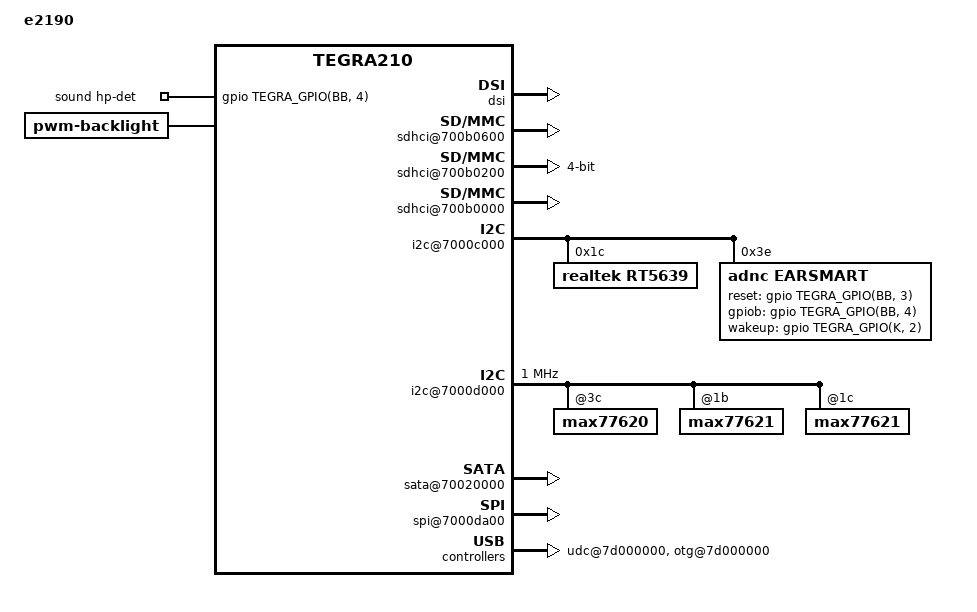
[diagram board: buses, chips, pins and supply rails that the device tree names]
/*
 * T210 POP
 *
 * arch/arm64/boot/dts/tegra210-ers-e2190-1100-a00-00.dts
 *
 * Copyright (c) 2014, NVIDIA CORPORATION.  All rights reserved.
 *
 * This program is free software; you can redistribute it and/or modify
 * it under the terms of the GNU General Public License as published by
 * the Free Software Foundation; version 2 of the License.
 *
 * This program is distributed in the hope that it will be useful, but WITHOUT
 * ANY WARRANTY; without even the implied warranty of MERCHANTABILITY or
 * FITNESS FOR A PARTICULAR PURPOSE.  See the GNU General Public License for
 * more details.
 *
 * You should have received a copy of the GNU General Public License along
 * with this program; if not, write to the Free Software Foundation, Inc.,
 * 51 Franklin Street, Fifth Floor, Boston, MA  02110-1301, USA.
 *
 */

/dts-v1/;

/memreserve/ 0x80000000 0x00020000;

#include "tegra210-ers-common.dtsi"
#include "tegra210-platforms/tegra210-ers-extgpio-e2141-1100-a00.dtsi"
#include "tegra210-platforms/tegra210-ers-power-tree-e2174-1101-a00.dtsi"
#include "tegra210-platforms/tegra210-ers-sensor-e2160-1000-a00.dtsi"
#include "tegra210-platforms/tegra210-ers-gpio-e2190-1100-a00.dtsi"
#include "tegra210-platforms/tegra210-ers-pinmux-e2190-1100-a00.dtsi"
#include "tegra210-platforms/tegra210-comms.dtsi"
#include "tegra210-platforms/tegra210-sdhci.dtsi"
#include "panel-a-wuxga-8-0.dtsi"
#include "tegra210-platforms/tegra210-ers-hdmi-e2190-1100-a00.dtsi"
#include "tegra210-platforms/tegra210-ers-keys-e2141-1100-a00.dtsi"

/ {
	model = "e2190";
	compatible = "nvidia,e2190", "nvidia,tegra210";
	nvidia,boardids = "2190:1100:00;2174:1101:00";
	nvidia,dtsfilename = __FILE__;
	nvidia,proc-boardid = "2190:1100:00";
	nvidia,pmu-boardid = "2174:1102:00";
	#address-cells = <2>;
	#size-cells = <2>;

	chosen {
		bootargs ="mem=1024M@2048M console=ttyS0,115200 earlyprintk=uart8250-32bit,0x70006000";
        };

	host1x {
		/* tegradc.0 */
		dc@54200000 {
			status = "okay";
			nvidia,dc-flags = <TEGRA_DC_FLAG_ENABLED>;
			nvidia,emc-clk-rate = <204000000>;
			nvidia,cmu-enable = <1>;
			nvidia,low-v-win = <0x2>;
			nvidia,fb-bpp = <32>; /* bits per pixel */
			nvidia,fb-flags = <TEGRA_FB_FLIP_ON_PROBE>;
		};
		/* tegradc.1 */
		dc@54240000 {
			status = "okay";
			nvidia,dc-flags = <TEGRA_DC_FLAG_ENABLED>;
			nvidia,emc-clk-rate = <300000000>;
			nvidia,fb-bpp = <32>; /* bits per pixel */
			nvidia,fb-flags = <TEGRA_FB_FLIP_ON_PROBE>;
		};
		dsi {
			nvidia,dsi-controller-vs = <DSI_VS_1>;
			status = "okay";
			panel-a-wuxga-8-0 {
				nvidia,panel-rst-gpio = <&gpio TEGRA_GPIO(H, 3) 0>; /* PH3 */
				nvidia,panel-bl-pwm-gpio = <&gpio TEGRA_GPIO(H, 1) 0>; /* PH1 */
			};
		};
	};

	sdhci@700b0600 {
		uhs-mask = <0x60>;
		built-in;
		status = "okay";
	};

	sdhci@700b0400 {
		uhs-mask = <0x1c>;
		status = "disabled";
	};

	sdhci@700b0200 {
		uhs-mask = <0x1C>;
		bus-width = <4>;
		status = "okay";
	};

	sdhci@700b0000 {
		uhs-mask = <0x1c>;
		status = "okay";
	};

	i2c@7000c000 {
		rt5639: rt5639.0-001c@1c {
			compatible = "realtek,rt5639";
			reg = <0x1c>;
		};
		earSmart: earSmart-codec.0-003e@3e {
			compatible = "adnc,earSmart";
			reg = <0x3e>;

			adnc,reset-gpio = <&gpio TEGRA_GPIO(BB, 3) GPIO_ACTIVE_HIGH>;
			adnc,gpiob-gpio = <&gpio TEGRA_GPIO(BB, 4) GPIO_ACTIVE_HIGH>;
			adnc,wakeup-gpio = <&gpio TEGRA_GPIO(K, 2) GPIO_ACTIVE_HIGH>;
			adnc,int-gpio = <(-1)>;
			adnc,gpioa-gpio = <(-1)>;
			adnc,enable_hs_uart_intf = <0>;
			adnc,ext_clk_rate = <0>;
			adnc,debounce_timer = <3>;
			adnc,plug_det_enabled = <1>;
			adnc,mic_det_enabled = <1>;

			adnc,gpio_b_irq_type = <4>;
			adnc,cmd_comp_mode = <0>;

			/* Button Control 1 */
			adnc,btn_press_settling_time = <4>;
			adnc,btn_press_polling_rate = <1>;
			adnc,btn_press_det_act = <1>;

			/* Button Control 2 */
			adnc,double_btn_timer = <(-1)>;
			adnc,mic_det_settling_timer = <(-1)>;

			/* Button Control 3 */
			adnc,long_btn_timer = <(-1)>;
			adnc,adc_btn_mute = <(-1)>;

			/* Button Control 4 */
			adnc,valid_levels = <31>;
			adnc,impd_det_timer = <0>;
		};
	};

	i2c@7000d000 {
		max77620@3c {
			watchdog {
				status = "okay";
			};
		};
	};

	adma@702e2000  {
		interrupts = <0 24 0x04
			      0 25 0x04
			      0 26 0x04
			      0 27 0x04
			      0 28 0x04
			      0 29 0x04
			      0 30 0x04
			      0 31 0x04
			      0 32 0x04
			      0 33 0x04>;
		dma-channels = <10>;
		status = "okay";
	};

	ahub {
		i2s@702d1000 {
			pinctrl-names = "dap_active", "dap_inactive";
			pinctrl-0 = <>;
			pinctrl-1 = <>;
			regulator-supplies = "vdd-1v8-audio-hv", "vdd-1v8-audio-hv-bias";
			vdd-1v8-audio-hv-supply = <&max77620_sd3>;
			vdd-1v8-audio-hv-bias-supply = <&max77620_sd3>;
		};

		i2s@702d1300 {
			pinctrl-names = "dap_active", "dap_inactive";
			pinctrl-0 = <>;
			pinctrl-1 = <>;
			regulator-supplies = "vddio-dmic";
			vddio-dmic-supply = <&max77620_sd3>;
		};
	};

	sound {
		compatible = "nvidia,tegra-audio-t210ref-mobile-es755";
		nvidia,model = "tegra-snd-t210ref-mobile-es755";
		nvidia,hp-det-gpios = <&gpio TEGRA_GPIO(BB, 4) GPIO_ACTIVE_HIGH>;
		nvidia,num-codec-link = <2>;

		nvidia,audio-routing =
			"y Headphone", 	"y OUT",
			"y IN",		"y Mic";

		nvidia,xbar = <&tegra_axbar>;

		nvidia,dai-link-1 {
			cpu-dai = <&tegra_i2s1>;
			codec-dai = <&earSmart>;
			cpu-dai-name = "I2S1";
			codec-dai-name = "earSmart-porta";
			format = "i2s";
			bitclock-slave;
			frame-slave;
			bit-format = "s16_le";
			bclk_ratio = <0>;
			srate = <48000>;
			num-channel = <2>;
			name-prefix = "x";
		};
		nvidia,dai-link-2 {
			cpu-dai = <&tegra_i2s3>;
			codec-dai = <&spdif_dit1>;
			cpu-dai-name = "I2S3";
			codec-dai-name = "dit-hifi";
			format = "dsp_a";
			bitclock-slave;
			frame-slave;
			bit-format = "s32_le";
			bclk_ratio = <0>;
			srate = <8000>;
			num-channel = <2>;
			name-prefix = "y";
		};
	};

        sata@70020000 {
                status = "okay";
                nvidia,pexp-gpio = <&pca9539_76 11 0>, <&pca9539_76 12 0>;
                nvidia,enable-sata-port;
                hvdd_sata-supply = <&max77620_sd3>;
                vddio_pex_sata-supply = <&max77620_sd3>;
                avdd_sata-supply = <&max77620_ldo8>;
                vdd_sata-supply = <&max77620_ldo8>;
                avdd_sata_pll-supply = <&max77620_ldo8>;
        };

	dfll-ovr@70110000 {
		status = "disabled";
	};

	dfll-max77621@70110000 {
		status = "okay";
	};

	pwm_regulators {
		pwm-regulator@0 {
			status = "disabled";
		};

		pwm-regulator@1 {
			status = "disabled";
		};
	};

	i2c@7000d000 {
		max77621@1b {
			status = "okay";
		};

		max77621@1c {
			status = "okay";
		};
	};

	dvfs_rails {
		vdd-cpu-rail-ovr@0 {
			status = "disabled";
		};

		vdd-gpu-rail-ovr@1 {
			status = "disabled";
		};

		vdd-cpu-rail-max77621@2 {
			status = "okay";
		};

		vdd-gpu-rail-max77621@3 {
			status = "okay";
		};
	};

	spi@7000da00 {
		status = "okay";
		spi-max-frequency = <25000000>;
	};

	backlight {
		compatible = "pwm-backlight";
		status = "okay";
	};

	gpio-keys {
		home {
			status = "disabled";
		};
	};

	udc@7d000000 {
                nvidia,port-otg;
                nvidia,charging-supported;
                nvidia,enable-pmu-vbus-detection;
                nvidia,id-detection-type = <1>;
                extcon-cables = <&bq2419x 0>;
                extcon-cable-names = "vbus";
                #extcon-cells = <1>;
                status = "okay";
        };

        otg@7d000000 {
                nvidia,enable-pmu-vbus-detection;
                nvidia,id-detection-type = <1>;
                extcon-cables = <&bq2419x 0 &id_gpio_extcon 0>;
                extcon-cable-names = "vbus", "id";
                #extcon-cells = <1>;
                status = "okay";
        };

	i2c@7000d000 {
		clock-frequency = <1000000>;
	};

};
